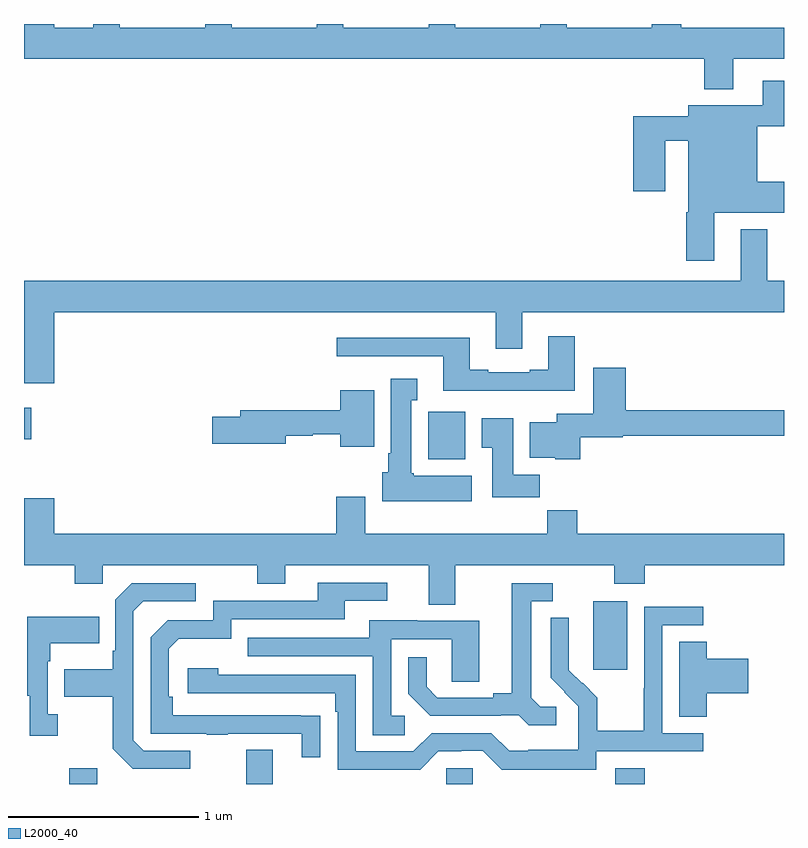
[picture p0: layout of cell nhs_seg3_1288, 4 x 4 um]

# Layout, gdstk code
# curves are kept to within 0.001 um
import gdstk
lib = gdstk.Library(unit=1e-6, precision=1e-09)
def R(c, l, rs):  # rectangles x0, y0, x1, y1
    for r in rs: c.add(gdstk.rectangle(r[:2], r[2:], *l))
def P(c, l, *ps):  # polygons
    for p in ps: c.add(gdstk.Polygon(p, *l))
L2000_40 = (2000, 40)

nhs_seg3_1288 = lib.new_cell('nhs_seg3_1288')
R(nhs_seg3_1288, L2000_40, [(177.238,730.4,177.385,730.483), (178.169,730.4,178.309,730.579), (179.223,730.4,179.361,730.482), (180.113,730.4,180.266,730.483), (179.996,731.001,180.175,731.362), (179.127,732.11,179.323,732.36), (177,732.214,177.037,732.379)])
P(nhs_seg3_1288, L2000_40, [(177.365,734.4),(177.365,734.38),(177.16,734.38),(177.16,734.4),(177,734.4),(177,734.216),(180.581,734.216),(180.581,734.057),(180.733,734.057),(180.733,734.216),(181,734.216),(181,734.38),(180.458,734.38),(180.458,734.4),(180.305,734.4),(180.305,734.38),(179.857,734.38),(179.857,734.4),(179.717,734.4),(179.717,734.38),(179.269,734.38),(179.269,734.4),(179.129,734.4),(179.129,734.38),(178.681,734.38),(178.681,734.4),(178.541,734.4),(178.541,734.38),(178.093,734.38),(178.093,734.4),(177.953,734.4),(177.953,734.38),(177.505,734.38),(177.505,734.4)],
  [(180.634,733.406),(181,733.406),(181,733.57),(180.859,733.57),(180.859,733.863),(181,733.863),(181,734.101),(180.887,734.101),(180.887,733.972),(180.497,733.972),(180.497,733.915),(180.206,733.915),(180.206,733.521),(180.376,733.521),(180.376,733.786),(180.497,733.786),(180.497,733.41),(180.485,733.41),(180.485,733.155),(180.634,733.155)],
  [(177.16,732.884),(179.483,732.884),(179.483,732.69),(179.623,732.69),(179.623,732.884),(181,732.884),(181,733.048),(180.913,733.048),(180.913,733.321),(180.773,733.321),(180.773,733.048),(177,733.048),(177,732.51),(177.16,732.51)],
  [(179.899,732.757),(179.759,732.757),(179.759,732.58),(179.663,732.58),(179.663,732.567),(179.443,732.567),(179.443,732.58),(179.347,732.58),(179.347,732.748),(178.647,732.748),(178.647,732.651),(179.207,732.651),(179.207,732.47),(179.899,732.47)],
  [(179.927,732.224),(180.15,732.224),(180.15,732.232),(181,732.232),(181,732.368),(180.167,732.368),(180.167,732.592),(179.996,732.592),(179.996,732.349),(179.804,732.349),(179.804,732.304),(179.663,732.304),(179.663,732.116),(179.796,732.116),(179.796,732.11),(179.927,732.11)],
  [(179.356,732.022),(179.052,732.022),(179.052,732.036),(179.038,732.036),(179.038,732.419),(179.071,732.419),(179.071,732.532),(178.931,732.532),(178.931,732.142),(178.916,732.142),(178.916,732.042),(178.886,732.042),(178.886,731.888),(179.356,731.888)],
  [(178.843,732.472),(178.664,732.472),(178.664,732.368),(178.139,732.368),(178.139,732.332),(177.99,732.332),(177.99,732.19),(178.378,732.19),(178.378,732.232),(178.521,732.232),(178.521,732.24),(178.664,732.24),(178.664,732.176),(178.843,732.176)],
  [(179.714,732.028),(179.575,732.028),(179.575,732.325),(179.408,732.325),(179.408,732.169),(179.465,732.169),(179.465,731.91),(179.714,731.91)],
  [(179.269,731.552),(180.106,731.552),(180.106,731.453),(180.266,731.453),(180.266,731.552),(181,731.552),(181,731.716),(179.912,731.716),(179.912,731.84),(179.755,731.84),(179.755,731.716),(178.795,731.716),(178.795,731.911),(178.643,731.911),(178.643,731.716),(177.16,731.716),(177.16,731.905),(177,731.905),(177,731.552),(177.268,731.552),(177.268,731.453),(177.414,731.453),(177.414,731.552),(178.228,731.552),(178.228,731.453),(178.375,731.453),(178.375,731.552),(179.129,731.552),(179.129,731.344),(179.269,731.344)],
  [(178.559,730.76),(177.782,730.761),(177.782,730.858),(177.762,730.858),(177.762,731.112),(177.815,731.165),(178.092,731.165),(178.092,731.268),(178.687,731.268),(178.687,731.364),(178.912,731.364),(178.912,731.46),(178.547,731.46),(178.547,731.364),(177.996,731.364),(177.996,731.262),(177.756,731.262),(177.666,731.172),(177.666,730.665),(177.961,730.665),(177.961,730.66),(178.073,730.66),(178.073,730.665),(178.463,730.665),(178.463,730.542),(178.559,730.542)],
  [(179.8,730.806),(179.718,730.806),(179.671,730.853),(179.671,731.361),(179.782,731.361),(179.782,731.457),(179.567,731.457),(179.567,730.877),(179.471,730.877),(179.471,730.854),(179.176,730.854),(179.119,730.911),(179.119,731.068),(179.022,731.068),(179.022,730.874),(179.138,730.758),(179.51,730.758),(179.51,730.761),(179.604,730.761),(179.656,730.709),(179.8,730.709)],
  [(177.874,730.575),(177.63,730.575),(177.576,730.629),(177.576,731.31),(177.627,731.361),(177.904,731.361),(177.904,731.457),(177.567,731.457),(177.48,731.37),(177.48,731.101),(177.468,731.101),(177.468,731.005),(177.211,731.005),(177.211,730.858),(177.468,730.858),(177.468,730.585),(177.573,730.479),(177.874,730.479)],
  [(180.012,730.572),(180.574,730.572),(180.574,730.668),(180.36,730.668),(180.36,731.235),(180.574,731.235),(180.574,731.334),(180.264,731.334),(180.264,730.904),(180.262,730.904),(180.262,730.681),(180.017,730.681),(180.017,730.855),(179.94,730.932),(179.937,730.929),(179.867,731),(179.868,731.276),(179.772,731.276),(179.772,730.958),(179.918,730.81),(179.918,730.713),(179.916,730.713),(179.916,730.579),(179.653,730.579),(179.653,730.575),(179.553,730.575),(179.46,730.668),(179.145,730.668),(179.049,730.572),(178.746,730.572),(178.746,730.974),(178.022,730.974),(178.022,731.008),(177.861,731.008),(177.861,730.878),(178.637,730.878),(178.637,730.781),(178.65,730.781),(178.65,730.476),(179.085,730.476),(179.181,730.572),(179.3,730.572),(179.3,730.575),(179.415,730.575),(179.515,730.475),(180.012,730.475)],
  [(177.178,730.766),(177.126,730.766),(177.126,731.045),(177.139,731.045),(177.139,731.141),(177.395,731.141),(177.395,731.281),(177.018,731.281),(177.018,730.865),(177.029,730.865),(177.029,730.653),(177.178,730.653)],
  [(179.005,730.758),(178.932,730.758),(178.932,731.163),(179.25,731.163),(179.25,730.939),(179.395,730.939),(179.395,731.259),(179.071,731.259),(179.071,731.263),(178.817,731.263),(178.817,731.169),(178.177,731.169),(178.177,731.073),(178.836,731.073),(178.836,730.657),(179.005,730.657)],
  [(180.593,730.877),(180.811,730.877),(180.811,731.06),(180.593,731.06),(180.593,731.15),(180.449,731.15),(180.449,730.753),(180.593,730.753)])

lib.write_gds('nhs_seg3_1288.gds')
